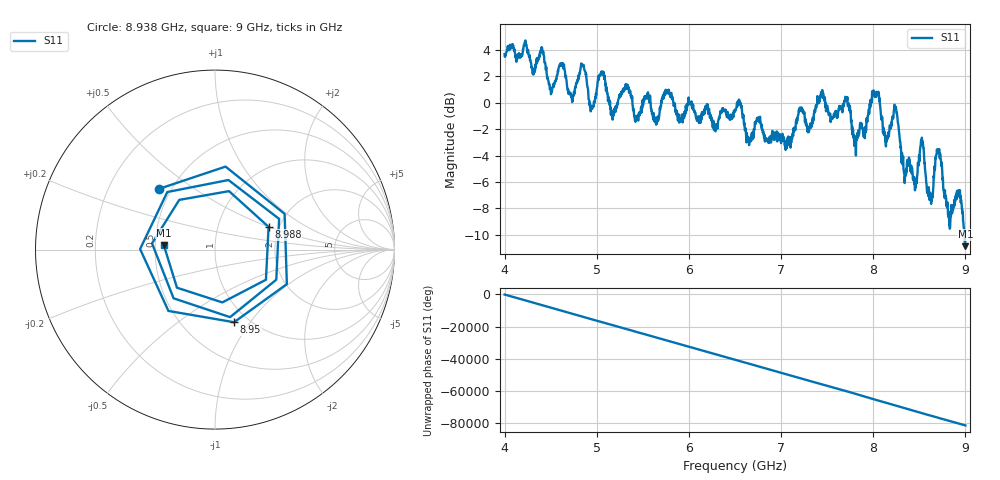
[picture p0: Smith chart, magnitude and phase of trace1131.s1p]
! Created with skrf 1.8.0 (http://scikit-rf.org).
# Hz S RI R 50.0
!freq ReS11 ImS11
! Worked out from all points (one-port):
!   1601 points, 4 GHz to 9 GHz, reference 50 ohm
!   lowest |S11| = -10.9 dB at 9 GHz (marker M1), VSWR 1.80, Z = 27.8 + j1.53 ohm
!   |S11| at or under -10 dB: 8.992211 GHz to end of sweep
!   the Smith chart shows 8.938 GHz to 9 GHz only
!   S11 on the Smith chart (normalised r, x): 8.938 GHz: 0.43, +0.37; 8.95 GHz: 0.86, -0.84; 8.988 GHz: 1.76, +0.50; 9 GHz: 0.56, +0.03
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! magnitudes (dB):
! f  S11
! 4 GHz  3.7
! 4.403 GHz  4.1
! 4.509 GHz  0.9
! 4.625 GHz  2.8
! 4.725 GHz  0.5
! 4.844 GHz  2.8
! 4.941 GHz  -0.5
! 5.05 GHz  2.2
! 5.25 GHz  0.6
! 5.875 GHz  -1.1
! 6.5 GHz  -0.5
! 7.125 GHz  -2.3
! 7.441 GHz  0.6
! 7.75 GHz  -0.7
! 7.812 GHz  -4.0
! 8.038 GHz  0.8
! 8.131 GHz  -2.9
! 8.247 GHz  -0.4
! 8.375 GHz  -4.5
! 8.456 GHz  -6.2
! 8.528 GHz  -2.6
! 8.625 GHz  -7.0
! 8.706 GHz  -3.5
! 8.819 GHz  -8.7
! 8.938 GHz  -6.7
! 8.95 GHz  -7.6
! 8.988 GHz  -9.8
! 9 GHz  -10.9
